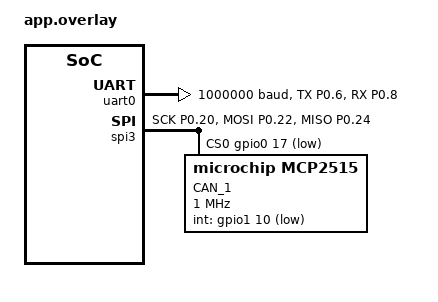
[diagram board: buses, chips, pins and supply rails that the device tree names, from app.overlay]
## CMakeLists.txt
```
cmake_minimum_required(VERSION 3.20.0)

set(BOARD promicro_nrf52840/nrf52840/uf2)

# find_package(Zephyr REQUIRED HINTS $ENV{ZEPHYR_BASE})
find_package(Zephyr REQUIRED HINTS C:/ncs/main_branch/zephyr)

project(openffboard)

target_include_directories(
    app
    PRIVATE
    src/
)

target_sources(
    app 
    PRIVATE
    src/main.c
)
```

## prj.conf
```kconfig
CONFIG_CPP=y
CONFIG_STD_CPP20=y
CONFIG_REQUIRES_FULL_LIBCPP=y
CONFIG_CPP_EXCEPTIONS=n
CONFIG_CPP_RTTI=n
CONFIG_LOG=y
CONFIG_HEAP_MEM_POOL_SIZE=65536
CONFIG_COMMON_LIBC_MALLOC_ARENA_SIZE=32768
CONFIG_UART_CONSOLE=n
CONFIG_RTT_CONSOLE=y
CONFIG_USE_SEGGER_RTT=y
CONFIG_LOG_BACKEND_RTT_BUFFER_SIZE=4096
CONFIG_LOG_BACKEND_RTT_OUTPUT_BUFFER_SIZE=128
# CONFIG_LOG_PROCESS_THREAD=y
CONFIG_UART_INTERRUPT_DRIVEN=y
# CONFIG_UART_ASYNC_API=y
CONFIG_FPU=y
CONFIG_GPIO=y
CONFIG_NEWLIB_LIBC=n
CONFIG_PICOLIBC=y
CONFIG_STDOUT_CONSOLE=n
# CONFIG_THREAD_CUSTOM_DATA=y
# CONFIG_UDC_NRF=y
# CONFIG_UDC_DRIVER=y
# CONFIG_NRF_USBD_COMMON=y
# CONFIG_USB_DEVICE_DRIVER=y

CONFIG_FLASH=y
CONFIG_NVS=y

CONFIG_USB_DEVICE_STACK=n
CONFIG_CLOCK_CONTROL=y

CONFIG_SERIAL=y

CONFIG_LOG_BACKEND_RTT_BUFFER=1
# CONFIG_PRINTK=n
CONFIG_LOG_PRINTK=n
CONFIG_USERSPACE=y
CONFIG_DYNAMIC_OBJECTS=y

# CONFIG_THREAD_NAME=y
# CONFIG_LOG_PROCESS_THREAD=y

CONFIG_ASSERT=n
CONFIG_ASSERT_LEVEL=0


CONFIG_DEBUG_COREDUMP=n
CONFIG_DEBUG_COREDUMP_BACKEND_LOGGING=n
CONFIG_DEBUG=n
CONFIG_DEBUG_INFO=n
# CONFIG_THREAD_ANALYZER=n

# CONFIG_DEBUG=y
# CONFIG_DEBUG_INFO=y
# CONFIG_THREAD_ANALYZER=y
# CONFIG_DEBUG_COREDUMP=y
# CONFIG_DEBUG_COREDUMP_BACKEND_LOGGING=y
# CONFIG_DEBUG_COREDUMP_THREADS_METADATA=y
# CONFIG_ASSERT=y
# CONFIG_ASSERT_LEVEL=2


# CONFIG_NUM_PREEMPT_PRIORITIES=57
# CONFIG_NUM_COOP_PRIORITIES=10

CONFIG_SPEED_OPTIMIZATIONS=y
CONFIG_DEBUG_OPTIMIZATIONS=n

CONFIG_HW_STACK_PROTECTION=n
CONFIG_MAIN_STACK_SIZE=8192
CONFIG_INIT_STACKS=y
# CONFIG_THREAD_STACK_INFO=y
# CONFIG_MAX_THREAD_BYTES=6
# CONFIG_DYNAMIC_THREAD_POOL_SIZE=32
# CONFIG_DEBUG_THREAD_INFO=y
# CONFIG_DYNAMIC_THREAD=y
# CONFIG_DYNAMIC_THREAD_ALLOC=y
# CONFIG_DYNAMIC_THREAD_PREFER_ALLOC=y
# CONFIG_DYNAMIC_THREAD_PREFER_POOL=y
# CONFIG_SYSTEM_WORKQUEUE_STACK_SIZE=4096
# CONFIG_POSIX_API=y
CONFIG_ESB=y
CONFIG_NRFX_POWER=y


CONFIG_POLL=y
CONFIG_CAN=y
#CONFIG_SHELL=y
CONFIG_CAN_SHELL=y
#CONFIG_UART_SHELL=n
CONFIG_DEVICE_SHELL=y
```

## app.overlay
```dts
/*
 * Copyright (c) 2022 Nordic Semiconductor ASA
 *
 * SPDX-License-Identifier: LicenseRef-Nordic-5-Clause
 */

/ {
	chosen {
		nordic,nrf-uarte = &uart0;
		zephyr,canbus = &canbus;
	};
};

&uart0 {
	current-speed = <1000000>;
	status = "okay";
	pinctrl-0 = <&uart0_default>;
	pinctrl-names = "default", "sleep";
};

&spi3 {
    status = "okay";
    cs-gpios = <&gpio0 17 GPIO_ACTIVE_LOW>;
	pinctrl-0 = <&spi3_default>;
	pinctrl-1 = <&spi3_sleep>;
    pinctrl-names = "default", "sleep";

    canbus:mcp2515@0 {
		compatible = "microchip,mcp2515";
		spi-max-frequency = <1000000>;
		int-gpios = <&gpio1 10 (GPIO_ACTIVE_LOW)>; 
		status = "okay";
		label = "CAN_1";
		reg = <0x0>;
		osc-freq = <16000000>;
		bus-speed = <1000000>;
		// sjw = <1>;
		// prop-seg = <2>;
		// phase-seg1 = <7>;
		// phase-seg2 = <6>;
		#address-cells = <1>;
		#size-cells = <0>;
	};
};

&pinctrl {
	uart0_default: uart0_default {
		group1 {
			psels = <NRF_PSEL(UART_TX, 0, 6)>,
			<NRF_PSEL_DISCONNECTED(UART_RTS)>;
		};
		group2 {
			psels = <NRF_PSEL(UART_RX, 0, 8)>,
			<NRF_PSEL_DISCONNECTED(UART_CTS)>;
			bias-pull-up;
		};
	};

	spi3_default: spi3_default {
			group1 {
					psels = <NRF_PSEL(SPIM_SCK, 0, 20)>,
							<NRF_PSEL(SPIM_MOSI, 0, 22)>,
							<NRF_PSEL(SPIM_MISO, 0, 24)>;
			};
	};
	spi3_sleep: spi3_sleep {
			group1 {
					psels = <NRF_PSEL(SPIM_SCK, 0, 20)>,
							<NRF_PSEL(SPIM_MOSI, 0, 22)>,
							<NRF_PSEL(SPIM_MISO, 0, 24)>;
					low-power-enable;
			};
	};
};
```

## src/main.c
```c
/*
 * Copyright (c) 2018 Nordic Semiconductor ASA
 *
 * SPDX-License-Identifier: LicenseRef-Nordic-5-Clause
 */
#include <zephyr/drivers/clock_control.h>
#include <zephyr/drivers/clock_control/nrf_clock_control.h>
#if defined(NRF54L15_XXAA)
#include <hal/nrf_clock.h>
#endif /* defined(NRF54L15_XXAA) */
#include <dk_buttons_and_leds.h>
#include <esb.h>
#include <math.h>
#include <nrf.h>
#include <zephyr/device.h>
#include <zephyr/devicetree.h>
#include <zephyr/drivers/can.h>
#include <zephyr/drivers/gpio.h>
#include <zephyr/drivers/uart.h>
#include <zephyr/irq.h>
#include <zephyr/kernel.h>
#include <zephyr/logging/log.h>
#include <zephyr/types.h>
#include <zephyr/sys/byteorder.h>

#if defined(CONFIG_CLOCK_CONTROL_NRF2)
#include <hal/nrf_lrcconf.h>
#endif

/* change this to any other UART peripheral if desired */
// #define UART_DEVICE_NODE DT_CHOSEN(zephyr_shell_uart)
#define UART_DEVICE_NODE DT_CHOSEN(nordic_nrf_uarte)

#define UART_MSG_SIZE 16

struct ControllerState {
  float encoder_angle;
  uint16_t axis1;
  uint16_t axis2;
  uint8_t buttons;
};

const struct device *const can_dev = DEVICE_DT_GET(DT_CHOSEN(zephyr_canbus));

K_MSGQ_DEFINE(uart_recv_msgq, UART_MSG_SIZE, 10, 4);
K_MSGQ_DEFINE(uart_send_msgq, UART_MSG_SIZE, 10, 4);
K_MSGQ_DEFINE(esb_msgq, sizeof(struct esb_payload), 10, 1);

void esb_recv(void);
#define ESB_RECV_THREAD_STACKSIZE 2048
#define ESB_RECV_THREAD_PRIO 14
K_THREAD_DEFINE(esb_recv_tid, ESB_RECV_THREAD_STACKSIZE, esb_recv, NULL, NULL,
                NULL, ESB_RECV_THREAD_PRIO, 0, 0);

static const struct device *const uart_dev = DEVICE_DT_GET(UART_DEVICE_NODE);

// arbitrary magic header to identify start of message in uart
static uint8_t UART_MAGIC_HEADER[4] = {0x42, 0x03, 0x02, 0x01};
static char uart_rx_buf[UART_MSG_SIZE];
static int uart_rx_buf_pos = 0;

static struct esb_payload rx_payload;
static struct esb_payload tx_payload =
    ESB_CREATE_PAYLOAD(0, 0x01, 0x00, 0x03, 0x04, 0x05, 0x06, 0x07, 0x08);

#define _RADIO_SHORTS_COMMON                                                   \
  (RADIO_SHORTS_READY_START_Msk | RADIO_SHORTS_END_DISABLE_Msk |               \
   RADIO_SHORTS_ADDRESS_RSSISTART_Msk | RADIO_SHORTS_DISABLED_RSSISTOP_Msk)

void event_handler(struct esb_evt const *event) {
  switch (event->evt_id) {
  case ESB_EVENT_TX_SUCCESS:
    break;
  case ESB_EVENT_TX_FAILED:
    esb_flush_tx();
    // esb_start_tx();
    break;
  case ESB_EVENT_RX_RECEIVED:
    if (esb_read_rx_payload(&rx_payload) == 0) {
      // printf("rx torque\n");
      while (k_msgq_put(&esb_msgq, &rx_payload, K_NO_WAIT) != 0) {
        /* message queue is full: purge old data & try again */
        k_msgq_purge(&esb_msgq);
      }
    } else {
      // err
    }
    break;
  }
}

int clocks_start(void) {
  int err;
  int res;
  struct onoff_manager *clk_mgr;
  struct onoff_client clk_cli;

  clk_mgr = z_nrf_clock_control_get_onoff(CLOCK_CONTROL_NRF_SUBSYS_HF);
  if (!clk_mgr) {
    return -ENXIO;
  }

  sys_notify_init_spinwait(&clk_cli.notify);

  err = onoff_request(clk_mgr, &clk_cli);
  if (err < 0) {
    return err;
  }

  do {
    err = sys_notify_fetch_result(&clk_cli.notify, &res);
    if (!err && res) {
      return res;
    }
  } while (err);

#if defined(NRF54L15_XXAA)
  /* MLTPAN-20 */
  nrf_clock_task_trigger(NRF_CLOCK, NRF_CLOCK_TASK_PLLSTART);
#endif /* defined(NRF54L15_XXAA) */

  return 0;
}

bool esb_send(uint8_t *packet, uint32_t packet_length) {
  memcpy(tx_payload.data, packet, packet_length);
  tx_payload.length = packet_length;
  tx_payload.pipe = 0;
  tx_payload.noack = false;
  esb_write_payload(&tx_payload);
}

int esb_initialize(void) {
  int err;
  /* These are arbitrary default addresses. In end user products
   * different addresses should be used for each set of devices.
   */
  uint8_t base_addr_0[4] = {0xE7, 0xE7, 0xE7, 0xE7};
  uint8_t base_addr_1[4] = {0xC2, 0xC2, 0xC2, 0xC2};
  uint8_t addr_prefix[8] = {0xE7, 0xC2, 0xC3, 0xC4, 0xC5, 0xC6, 0xC7, 0xC8};

  struct esb_config esb_config = ESB_DEFAULT_CONFIG;
  esb_config.mode = ESB_MODE_PTX;
  esb_config.event_handler = event_handler;
  esb_config.selective_auto_ack = false; // require all packets to acknowledge
  esb_config.retransmit_count = 0;
  err = esb_init(&esb_config);

  if (err) {
    return err;
  }

  err = esb_set_base_address_0(base_addr_0);
  if (err) {
    return err;
  }

  err = esb_set_base_address_1(base_addr_1);
  if (err) {
    return err;
  }

  err = esb_set_prefixes(addr_prefix, ARRAY_SIZE(addr_prefix));
  if (err) {
    return err;
  }

  // err = esb_start_rx();
  // printf("start rx %d\n", err);

  err = esb_start_tx();
  printf("start tx %d\n", err);

  return 0;
}

void serial_cb(const struct device *dev, void *user_data) {
  uint8_t c;

  uart_irq_update(uart_dev);

  // read magic header + struct Controller state
  if (uart_irq_rx_ready(uart_dev)) {
    /* read until FIFO empty */
    while (uart_fifo_read(uart_dev, &c, 1) == 1) {
      if (uart_rx_buf_pos < 4 && c == UART_MAGIC_HEADER[uart_rx_buf_pos]) {
        uart_rx_buf_pos++;
      } else if (uart_rx_buf_pos >= 4) {
        uart_rx_buf[uart_rx_buf_pos++] = c;
        if (uart_rx_buf_pos == 16) {
          k_msgq_put(&uart_recv_msgq, &uart_rx_buf, K_NO_WAIT);
          uart_rx_buf_pos = 0;
        }
      } else {
        uart_rx_buf_pos = 0;
      }
    }
  }
}

void uart_initialize() {
  printf("Begin uart_initialize\n");
  if (!device_is_ready(uart_dev)) {
    printk("UART device not found!\n");
    return;
  }

  /* configure interrupt and callback to receive data */
  int ret = uart_irq_callback_user_data_set(uart_dev, serial_cb, NULL);

  if (ret < 0) {
    return;
  }

  uart_irq_rx_enable(uart_dev);
}

// receives torque updates and sends it to motor controller over uart
void esb_recv(void) {
  printf("Begin esb_recv\n");
  struct esb_payload payload;
  while (true) {
    if (k_msgq_get(&esb_msgq, &payload, K_NO_WAIT) != 0) {
      k_sleep(K_MSEC(1));
      continue;
    }
    int16_t torque = *(uint16_t *)(payload.data);
    uint8_t data[UART_MSG_SIZE];
    data[0] = UART_MAGIC_HEADER[0];
    data[1] = UART_MAGIC_HEADER[1];
    data[2] = UART_MAGIC_HEADER[2];
    data[3] = UART_MAGIC_HEADER[3];
    memcpy(&data[4], &torque, sizeof(torque));
    // printf("send %d\n", torque);

    for (int i = 0; i < UART_MSG_SIZE; i++) {
      uart_poll_out(uart_dev, data[i]);
    }
  }
}

#define RX_THREAD_STACK_SIZE 512
#define RX_THREAD_PRIORITY 2
#define STATE_POLL_THREAD_STACK_SIZE 512
#define STATE_POLL_THREAD_PRIORITY 2
#define LED_MSG_ID 0x10
#define COUNTER_MSG_ID 0x12345
#define SET_LED 1
#define RESET_LED 0
#define SLEEP_TIME K_MSEC(250)

K_THREAD_STACK_DEFINE(rx_thread_stack, RX_THREAD_STACK_SIZE);
K_THREAD_STACK_DEFINE(poll_state_stack, STATE_POLL_THREAD_STACK_SIZE);

struct k_thread rx_thread_data;
struct k_thread poll_state_thread_data;
struct k_work_poll change_led_work;
struct k_work state_change_work;
enum can_state current_state;
struct can_bus_err_cnt current_err_cnt;

CAN_MSGQ_DEFINE(change_led_msgq, 2);
CAN_MSGQ_DEFINE(counter_msgq, 2);

static struct k_poll_event change_led_events[1] = {
    K_POLL_EVENT_STATIC_INITIALIZER(K_POLL_TYPE_MSGQ_DATA_AVAILABLE,
                                    K_POLL_MODE_NOTIFY_ONLY, &change_led_msgq,
                                    0)};

void tx_irq_callback(const struct device *dev, int error, void *arg) {
  char *sender = (char *)arg;

  ARG_UNUSED(dev);

  if (error != 0) {
    printf("Callback! error-code: %d\nSender: %s\n", error, sender);
  }
}

void rx_thread(void *arg1, void *arg2, void *arg3) {
  ARG_UNUSED(arg1);
  ARG_UNUSED(arg2);
  ARG_UNUSED(arg3);
  const struct can_filter filter = {
      .flags = CAN_FILTER_IDE, .id = COUNTER_MSG_ID, .mask = CAN_EXT_ID_MASK};
  struct can_frame frame;
  int filter_id;

  filter_id = can_add_rx_filter_msgq(can_dev, &counter_msgq, &filter);
  printf("Counter filter id: %d\n", filter_id);

  while (1) {
    k_msgq_get(&counter_msgq, &frame, K_FOREVER);

    if (IS_ENABLED(CONFIG_CAN_ACCEPT_RTR) &&
        (frame.flags & CAN_FRAME_RTR) != 0U) {
      continue;
    }

    if (frame.dlc != 2U) {
      printf("Wrong data length: %u\n", frame.dlc);
      continue;
    }

    printf("Counter received: %u\n",
           sys_be16_to_cpu(UNALIGNED_GET((uint16_t *)&frame.data)));
  }
}

char *state_to_str(enum can_state state) {
  switch (state) {
  case CAN_STATE_ERROR_ACTIVE:
    return "error-active";
  case CAN_STATE_ERROR_WARNING:
    return "error-warning";
  case CAN_STATE_ERROR_PASSIVE:
    return "error-passive";
  case CAN_STATE_BUS_OFF:
    return "bus-off";
  case CAN_STATE_STOPPED:
    return "stopped";
  default:
    return "unknown";
  }
}

void poll_state_thread(void *unused1, void *unused2, void *unused3) {
  struct can_bus_err_cnt err_cnt = {0, 0};
  struct can_bus_err_cnt err_cnt_prev = {0, 0};
  enum can_state state_prev = CAN_STATE_ERROR_ACTIVE;
  enum can_state state;
  int err;

  while (1) {
    err = can_get_state(can_dev, &state, &err_cnt);
    if (err != 0) {
      printf("Failed to get CAN controller state: %d", err);
      k_sleep(K_MSEC(100));
      continue;
    }

    if (err_cnt.tx_err_cnt != err_cnt_prev.tx_err_cnt ||
        err_cnt.rx_err_cnt != err_cnt_prev.rx_err_cnt || state_prev != state) {

      err_cnt_prev.tx_err_cnt = err_cnt.tx_err_cnt;
      err_cnt_prev.rx_err_cnt = err_cnt.rx_err_cnt;
      state_prev = state;
      printf("state: %s\n"
             "rx error count: %d\n"
             "tx error count: %d\n",
             state_to_str(state), err_cnt.rx_err_cnt, err_cnt.tx_err_cnt);
    } else {
      k_sleep(K_MSEC(100));
    }
  }
}

void state_change_work_handler(struct k_work *work) {
  printf("State Change ISR\nstate: %s\n"
         "rx error count: %d\n"
         "tx error count: %d\n",
         state_to_str(current_state), current_err_cnt.rx_err_cnt,
         current_err_cnt.tx_err_cnt);
}

void state_change_callback(const struct device *dev, enum can_state state,
                           struct can_bus_err_cnt err_cnt, void *user_data) {
  struct k_work *work = (struct k_work *)user_data;

  ARG_UNUSED(dev);

  current_state = state;
  current_err_cnt = err_cnt;
  k_work_submit(work);
}

void can_main() {
  const struct can_filter change_led_filter = {
      .flags = 0U, .id = LED_MSG_ID, .mask = CAN_STD_ID_MASK};
  struct can_frame change_led_frame = {.flags = 0, .id = LED_MSG_ID, .dlc = 1};
  struct can_frame counter_frame = {
      .flags = CAN_FRAME_IDE, .id = COUNTER_MSG_ID, .dlc = 2};
  uint8_t toggle = 1;
  uint16_t counter = 0;
  k_tid_t rx_tid, get_state_tid;
  int ret;

  if (!device_is_ready(can_dev)) {
    printf("CAN: Device %s not ready.\n", can_dev->name);
    return 0;
  }

#ifdef CONFIG_LOOPBACK_MODE
  ret = can_set_mode(can_dev, CAN_MODE_LOOPBACK);
  if (ret != 0) {
    printf("Error setting CAN mode [%d]", ret);
    return 0;
  }
#endif
  ret = can_start(can_dev);
  if (ret != 0) {
    printf("Error starting CAN controller [%d]", ret);
    return 0;
  }

  k_work_init(&state_change_work, state_change_work_handler);

  ret = can_add_rx_filter_msgq(can_dev, &change_led_msgq, &change_led_filter);
  if (ret == -ENOSPC) {
    printf("Error, no filter available!\n");
    return 0;
  }

  printf("Change LED filter ID: %d\n", ret);

  ret = k_work_poll_submit(&change_led_work, change_led_events,
                           ARRAY_SIZE(change_led_events), K_FOREVER);
  if (ret != 0) {
    printf("Failed to submit msgq polling: %d", ret);
    return 0;
  }

  rx_tid = k_thread_create(&rx_thread_data, rx_thread_stack,
                           K_THREAD_STACK_SIZEOF(rx_thread_stack), rx_thread,
                           NULL, NULL, NULL, RX_THREAD_PRIORITY, 0, K_NO_WAIT);
  if (!rx_tid) {
    printf("ERROR spawning rx thread\n");
  }

  get_state_tid = k_thread_create(&poll_state_thread_data, poll_state_stack,
                                  K_THREAD_STACK_SIZEOF(poll_state_stack),
                                  poll_state_thread, NULL, NULL, NULL,
                                  STATE_POLL_THREAD_PRIORITY, 0, K_NO_WAIT);
  if (!get_state_tid) {
    printf("ERROR spawning poll_state_thread\n");
  }

  can_set_state_change_callback(can_dev, state_change_callback,
                                &state_change_work);

  printf("Finished init.\n");

  while (1) {
    change_led_frame.data[0] = toggle++ & 0x01 ? SET_LED : RESET_LED;
    /* This sending call is none blocking. */
    // can_send(can_dev, &change_led_frame, K_FOREVER, tx_irq_callback,
    //          "LED change");
    k_sleep(SLEEP_TIME);

    UNALIGNED_PUT(sys_cpu_to_be16(counter), (uint16_t *)&counter_frame.data[0]);
    counter++;
    /* This sending call is blocking until the message is sent. */
    // can_send(can_dev, &counter_frame, K_MSEC(100), NULL, NULL);
    k_sleep(SLEEP_TIME);
  }
}

int main(void) {
  int err;

  err = clocks_start();
  if (err) {
    return 0;
  }

  can_main();

  uart_initialize();

  err = esb_initialize();
  if (err) {
    return 0;
  }

  while (1) {

    char data[UART_MSG_SIZE];

#if 1
    // send controller state to other nrf receiver
    while (k_msgq_get(&uart_recv_msgq, &data, K_FOREVER) == 0) {
      struct ControllerState *state = (struct ControllerState *)&data[4];
      // printf("%X,%X,%X,%X %X,%X,%X,%X %X,%X,%X,%X %X,%X,%X,%X\n", data[0],
      //        data[1], data[2], data[3], data[4], data[5], data[6], data[7],
      //        data[8], data[9], data[10], data[11], data[12], data[13],
      //        data[14], data[15]);

      // printf("%d,%d,%1.2f,%u\n", state->axis1, state->axis2,
      //        state->encoder_angle, state->buttons);
      esb_send(state, sizeof(struct ControllerState));
      k_sleep(K_USEC(5));
    }
#else // for testing
    int64_t time_ms = k_uptime_get();

    struct ControllerState state = {
        .encoder_angle = sin(time_ms / 100.0f),
        .axis1 = 0,
        .axis2 = 0,
        .buttons = 0,
    };
    esb_send(&state, sizeof(struct ControllerState));
    k_sleep(K_MSEC(1));
#endif
  }
}
```
